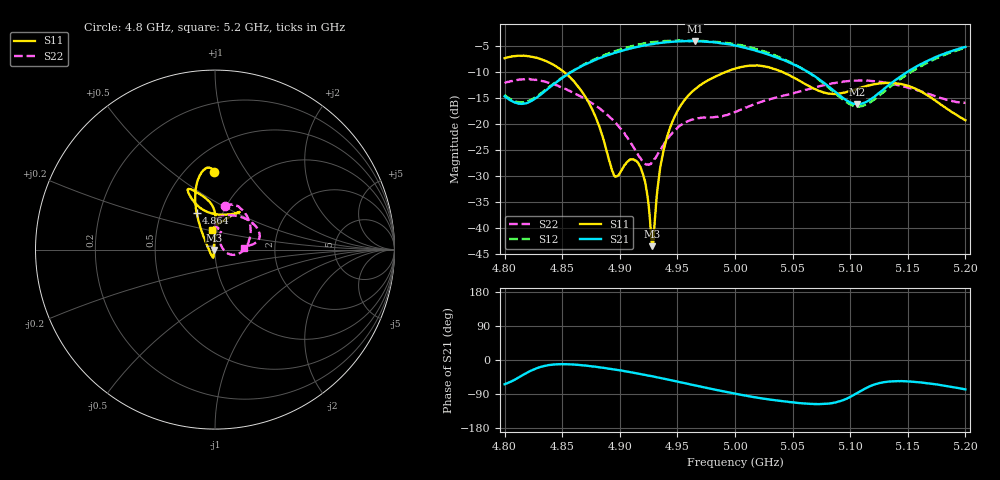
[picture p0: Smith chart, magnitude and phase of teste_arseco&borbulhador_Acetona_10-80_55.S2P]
! Network Analyzer HP8722D
! Hewlett-Packard
! Data name: Linha & Wilkinson
! Saver's name: Rodrigo Anjos
! Comments: Teste da utilização de aquisição
! continua pelo VNA HP8722D
! Time and date: 25/4/2025 15:43
!  Frequency  S11  S21  S12  S22
# HZ  S  MA R 50
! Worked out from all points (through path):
!   401 points, 4.8 GHz to 5.2 GHz, reference 50 ohm
!   highest |S21| = -3.95 dB at 4.965 GHz (marker M1); lowest = -16.1 dB at 5.106 GHz (marker M2)
!   lowest |S11| = -43.5 dB at 4.928 GHz (marker M3), VSWR 1.01, Z = 49.4 - j0.228 ohm
!   |S11| at or under -10 dB: 4.852 GHz to 4.991 GHz (139.1 MHz wide, 2.83 % of centre); 5.042 GHz to end of sweep
!   |S22| runs from -27.8 to -11.2 dB; largest |S21 - S12| = 1.2
!   S11 on the Smith chart (normalised r, x): 4.8 GHz: 0.68, +0.72; 4.864 GHz: 0.75, +0.33; 5.2 GHz: 0.94, +0.21
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4.8e9  0.4335 90.5  0.1864 -64.0  0.1916 69.6  0.2498 77.6
4.82e9  0.4527 96.9  0.1613 -32.5  0.167 98.2  0.2737 62.2
4.864e9  0.2306 116.4  0.3494 -12.8  0.3524 121.0  0.1903 12.2
4.867e9  0.2076 118.1  0.3636 -13.9  0.367 120.8  0.1833 8.6
4.88e9  0.1103 128.4  0.4231 -18.2  0.433 118.3  0.1487 -5.3
4.895e9  0.03216 -172.7  0.4871 -24.8  0.5021 113.8  0.1073 -15.8
4.91e9  0.04599 -104.3  0.5403 -32.6  0.5654 107.1  0.06508 -13.9
4.917e9  0.04052 -101.2  0.5628 -36.6  0.5914 103.5  0.04845 -2.1
4.922e9  0.02788 -103.8  0.5771 -39.3  0.6049 100.8  0.04154 15.1
4.928e9  0.006698 -159.8  0.5935 -42.8  0.6179 97.1  0.04332 41.3
4.93e9  0.01038 122.9  0.5966 -44.1  0.6197 95.8  0.04619 48.1
4.934e9  0.03094 98.5  0.6047 -46.8  0.6299 93.2  0.05392 58.1
4.939e9  0.06241 92.4  0.6147 -49.8  0.636 90.0  0.0666 66.4
4.945e9  0.1016 89.9  0.6239 -53.9  0.64 86.3  0.08061 70.2
4.965e9  0.2167 90.8  0.6348 -67.1  0.6387 73.6  0.1135 71.9
5e9  0.3443 109.0  0.5753 -89.1  0.5943 50.8  0.1315 88.6
5.03e9  0.353 115.1  0.4661 -104.4  0.4836 33.9  0.1738 85.7
5.067e9  0.225 105.1  0.3023 -115.8  0.2992 23.5  0.2227 57.2
5.106e9  0.2198 64.4  0.1561 -87.3  0.1484 55.7  0.2633 25.0
5.134e9  0.2507 56.8  0.2409 -56.8  0.2266 88.6  0.2483 12.5
5.169e9  0.1846 69.3  0.4187 -62.0  0.4023 84.9  0.1944 6.8
5.2e9  0.1094 100.0  0.5565 -77.6  0.546 70.2  0.1607 4.0
